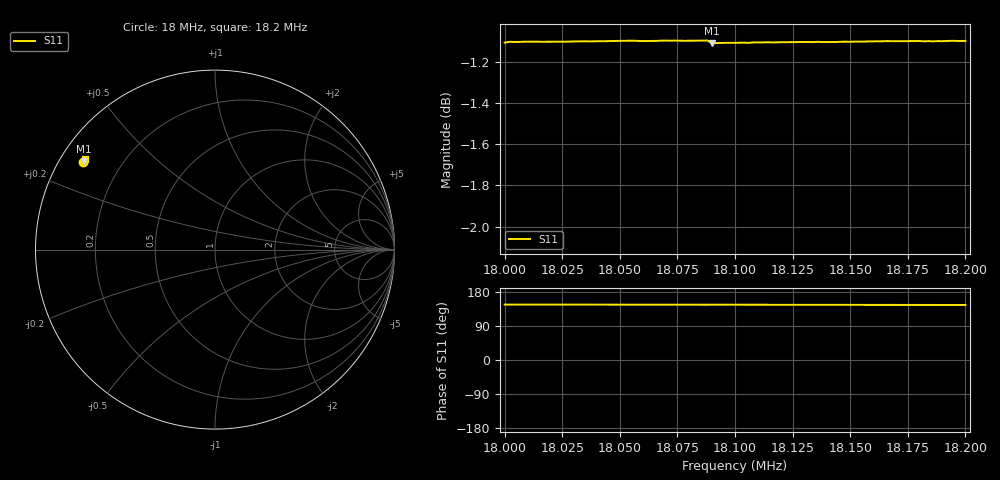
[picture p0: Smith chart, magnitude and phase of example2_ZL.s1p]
!File created by NanoVNA-F
# HZ S RI R 50
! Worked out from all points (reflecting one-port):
!   101 points, 18 MHz to 18.2 MHz, reference 50 ohm
!   lowest |S11| = -1.1 dB at 18.09 MHz (marker M1), VSWR 15.69, Z = 3.49 + j15.3 ohm
!   phase of S11 starts at 146 deg and turns -1 deg over the sweep
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1.8e7  -0.7332 0.4873
1.8002e7  -0.7334 0.4878
1.8026e7  -0.7322 0.4898
1.805e7  -0.7311 0.4922
1.8056e7  -0.7307 0.4928
1.8064e7  -0.7304 0.4931
1.8072e7  -0.73 0.494
1.8076e7  -0.7298 0.4942
1.8082e7  -0.7295 0.4946
1.8088e7  -0.7292 0.4953
1.809e7  -0.7291 0.493
1.81e7  -0.7286 0.4941
1.8106e7  -0.7283 0.4945
1.8108e7  -0.7283 0.4949
1.8114e7  -0.728 0.4955
1.8116e7  -0.7278 0.4957
1.8126e7  -0.7273 0.4966
1.815e7  -0.726 0.4988
1.8166e7  -0.7254 0.5003
1.817e7  -0.7251 0.5007
1.8172e7  -0.725 0.5007
1.8176e7  -0.7248 0.5012
1.8182e7  -0.7244 0.5015
1.8184e7  -0.7244 0.5017
1.8186e7  -0.7242 0.5018
1.8194e7  -0.7239 0.5027
1.8198e7  -0.7235 0.503
1.82e7  -0.7235 0.5032
